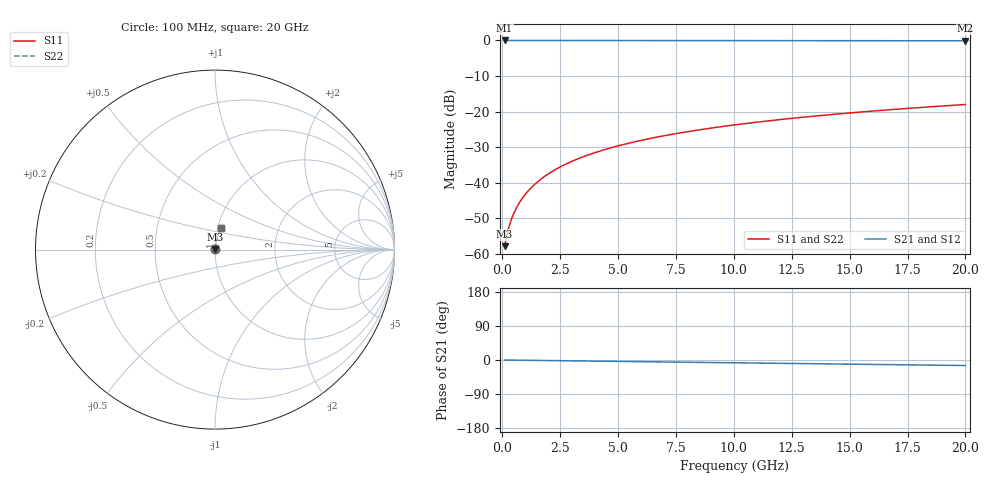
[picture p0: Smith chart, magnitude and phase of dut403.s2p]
! Touchstone file exported from HFSS 2026.1.0
!  File:  C:/ffzhzh/LocalFiles/Ansys_Project_Files/temp_train_TMRDL_403_1783004940_4048.aedt
!  Generated:  11:10:20 PM Jul  2, 2026
!  Design:  TMRDL
!  Project:  temp_train_TMRDL_403_1783004940_4048
! Variables:
!  h_bsmrdl = 2um
!  h_ox = 20um
!  h_rdl = 5um
!  h_sub = 80um
!  h_tmrdl = 3.17um
!  h_tsv = 80um
!  h_via = 3um
!  l_bsmrdl = 300um
!  l_sub = 588.47um
!  l_tmrdl = 188.47um
!  m_sub = 200um
!  pitch = 47.98um
!  r_tsv = 6um
!  s_tmrdl = 10um
!  w_bsmrdl = 18um
!  w_sub = 500um
!  w_tmrdl = 28.04um
!  x_tsv_center1 = 202.49um
!  x_tsv_center2 = 520.49um
!  x_tsv_center3 = 737um
!  x_tsv_center4 = 1055um
!  x_tsv_center5 = 1271.51um
!  x_tsv_center6 = 1589.51um
# GHz S MA R 50.000000
! Terminal data exported
! Port[1] = TM_RDL1_1_T1
! Port[2] = TM_RDL1_1_T2
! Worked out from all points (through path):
!   200 points, 100 MHz to 20 GHz, reference 50 ohm
!   highest |S21| = -0.01 dB at 100 MHz (marker M1); lowest = -0.1 dB at 20 GHz (marker M2)
!   group delay of S21, straight-line fit = 2.02 ps
!   lowest |S11| = -57.8 dB at 100 MHz (marker M3), VSWR 1.00, Z = 50.1 + j0.076 ohm
!   |S11| at or under -10 dB: start of sweep to end of sweep
!   |S22| runs from -57.8 to -18.0 dB; largest |S21 - S12| = 4e-15
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0.1  0.001287 36.1  0.999 -0.1  0.999 -0.1  0.001287 36.1
! Gamma 0 0 0 0
! Port Impedance 50 0 50 0
0.2  0.001851 53.5  0.9989 -0.2  0.9989 -0.2  0.001851 53.5
0.3  0.002479 61.8  0.9988 -0.2  0.9988 -0.2  0.002479 61.8
0.4  0.003112 66.6  0.9988 -0.3  0.9988 -0.3  0.003113 66.6
0.5  0.003744 69.8  0.9987 -0.4  0.9987 -0.4  0.003744 69.8
0.6  0.004376 72.2  0.9987 -0.5  0.9987 -0.5  0.004376 72.2
0.8  0.005646 75.5  0.9986 -0.6  0.9986 -0.6  0.005646 75.5
1.1  0.007572 78.5  0.9986 -0.8  0.9986 -0.8  0.007572 78.5
1.3  0.008866 79.8  0.9986 -1.0  0.9986 -1.0  0.008866 79.8
1.6  0.01082 81.1  0.9985 -1.2  0.9985 -1.2  0.01082 81.1
2.1  0.01409 82.3  0.9984 -1.6  0.9984 -1.6  0.01409 82.3
2.7  0.01802 82.9  0.9983 -2.0  0.9983 -2.0  0.01802 82.9
3.5  0.02325 83.2  0.998 -2.6  0.998 -2.6  0.02325 83.2
4.2  0.02782 83.1  0.9978 -3.1  0.9978 -3.1  0.02782 83.1
5  0.03302 82.9  0.9975 -3.7  0.9975 -3.7  0.03302 82.9
5.9  0.03883 82.5  0.9971 -4.4  0.9971 -4.4  0.03883 82.5
6.8  0.04461 82.0  0.9967 -5.0  0.9967 -5.0  0.04461 82.0
8.3  0.05416 81.1  0.9959 -6.1  0.9959 -6.1  0.05416 81.1
10.1  0.06549 80.0  0.9949 -7.5  0.9949 -7.5  0.06549 80.0
13.4  0.08597 77.8  0.9928 -9.8  0.9928 -9.8  0.08597 77.8
16.7  0.1061 75.6  0.9904 -12.2  0.9904 -12.2  0.1061 75.6
20  0.1258 73.4  0.9876 -14.6  0.9876 -14.6  0.1258 73.4
